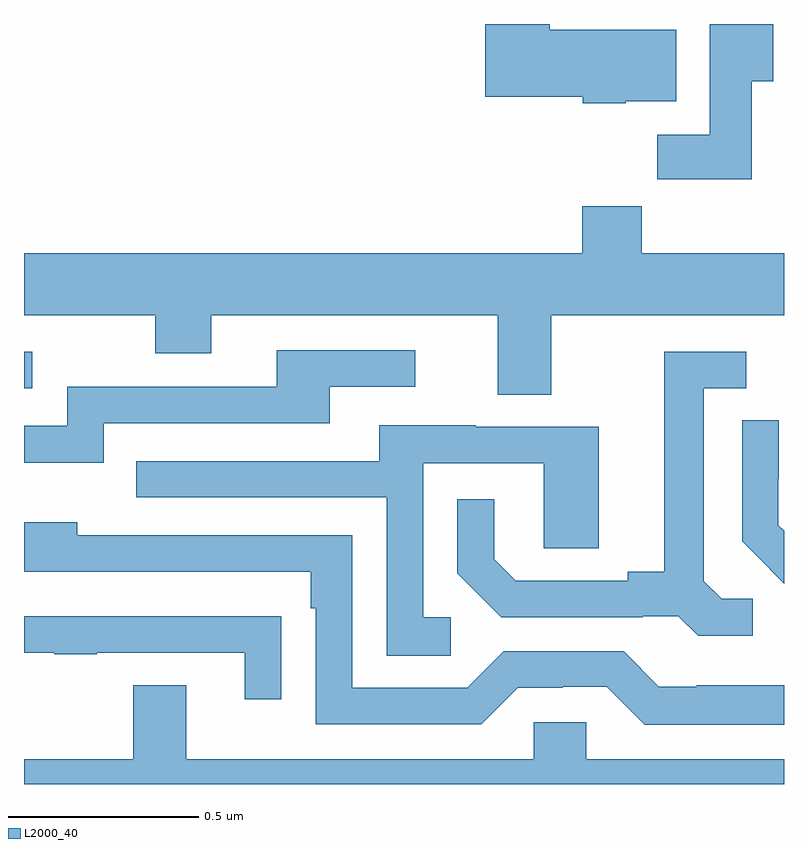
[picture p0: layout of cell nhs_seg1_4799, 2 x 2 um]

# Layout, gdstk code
import gdstk
lib = gdstk.Library(unit=1e-6, precision=1e-09)
def R(c, l, rs):  # rectangles x0, y0, x1, y1
    for r in rs: c.add(gdstk.rectangle(r[:2], r[2:], *l))
def P(c, l, *ps):  # polygons
    for p in ps: c.add(gdstk.Polygon(p, *l))
L2000_40 = (2000, 40)

nhs_seg1_4799 = lib.new_cell('nhs_seg1_4799')
R(nhs_seg1_4799, L2000_40, [(171,518.241,171.022,518.337)])
P(nhs_seg1_4799, L2000_40, [(172.915,519.049),(172.972,519.049),(172.972,519.199),(172.805,519.199),(172.805,518.908),(172.666,518.908),(172.666,518.79),(172.915,518.79)],
  [(172.584,518.996),(172.717,518.996),(172.717,519.184),(172.384,519.184),(172.384,519.199),(172.214,519.199),(172.214,519.008),(172.47,519.008),(172.47,518.99),(172.584,518.99)],
  [(172.387,518.432),(173,518.432),(173,518.596),(172.625,518.596),(172.625,518.72),(172.469,518.72),(172.469,518.596),(171,518.596),(171,518.432),(171.346,518.432),(171.346,518.333),(171.493,518.333),(171.493,518.432),(172.247,518.432),(172.247,518.224),(172.387,518.224)],
  [(171.21,518.148),(171.805,518.148),(171.805,518.244),(172.03,518.244),(172.03,518.34),(171.665,518.34),(171.665,518.244),(171.114,518.244),(171.114,518.142),(171,518.142),(171,518.045),(171.21,518.045)],
  [(172.918,517.686),(172.836,517.686),(172.789,517.733),(172.789,518.241),(172.9,518.241),(172.9,518.337),(172.685,518.337),(172.685,517.757),(172.589,517.757),(172.589,517.734),(172.294,517.734),(172.237,517.791),(172.237,517.948),(172.14,517.948),(172.14,517.754),(172.256,517.638),(172.628,517.638),(172.628,517.641),(172.722,517.641),(172.774,517.589),(172.918,517.589)],
  [(173,517.865),(172.985,517.88),(172.985,518.002),(172.986,518.002),(172.986,518.156),(172.89,518.156),(172.89,517.838),(172.963,517.765),(172.962,517.764),(173,517.726)],
  [(172.123,517.638),(172.05,517.638),(172.05,518.043),(172.368,518.043),(172.368,517.819),(172.513,517.819),(172.513,518.139),(172.189,518.139),(172.189,518.143),(171.935,518.143),(171.935,518.049),(171.295,518.049),(171.295,517.953),(171.954,517.953),(171.954,517.537),(172.123,517.537)],
  [(173,517.459),(172.771,517.459),(172.771,517.455),(172.671,517.455),(172.578,517.548),(172.263,517.548),(172.167,517.452),(171.864,517.452),(171.864,517.854),(171.14,517.854),(171.14,517.888),(171,517.888),(171,517.758),(171.755,517.758),(171.755,517.661),(171.768,517.661),(171.768,517.356),(172.203,517.356),(172.299,517.452),(172.418,517.452),(172.418,517.455),(172.533,517.455),(172.633,517.355),(173,517.355)],
  [(171.677,517.64),(171.575,517.64),(171.575,517.641),(171,517.641),(171,517.545),(171.079,517.545),(171.079,517.54),(171.191,517.54),(171.191,517.545),(171.581,517.545),(171.581,517.422),(171.677,517.422)],
  [(173,517.264),(172.479,517.264),(172.479,517.362),(172.341,517.362),(172.341,517.264),(171.427,517.264),(171.427,517.459),(171.287,517.459),(171.287,517.264),(171,517.264),(171,517.199),(173,517.199)])

lib.write_gds('nhs_seg1_4799.gds')
